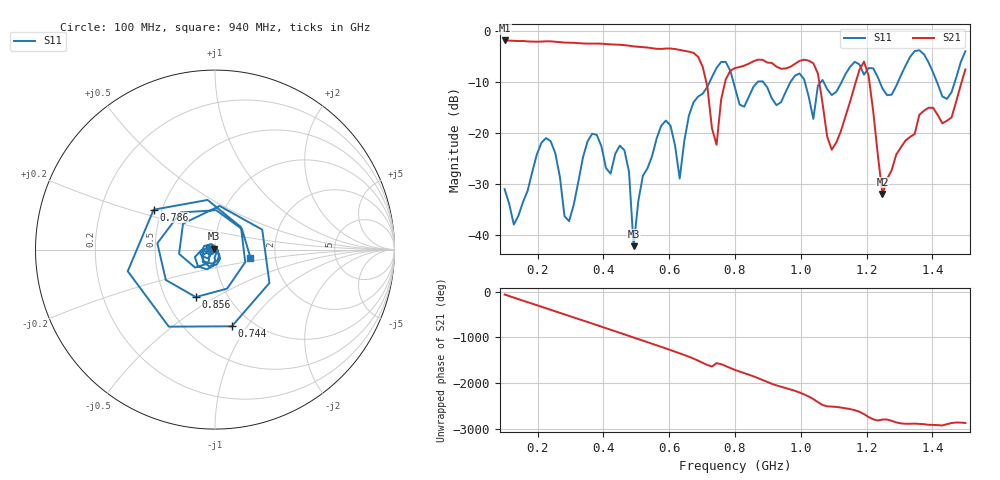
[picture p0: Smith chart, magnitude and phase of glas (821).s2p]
! NanoVNA-App
! Date: 2025-09-25 16:01:52
! Start: 100MHz Stop: 1,5GHz Points: 101
! S-Parameter data: F S11 S21 S12 S22
# Hz S RI R 50
!  Frequency  S11_Real  S11_Imag  S21_Real  S21_Imag  S12_Real  S12_Imag  S22_Real  S22_Imag
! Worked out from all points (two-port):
!   101 points, 100 MHz to 1.5 GHz, reference 50 ohm
!   highest |S21| = -1.80 dB at 100 MHz (marker M1); lowest = -31.9 dB at 1.248 GHz (marker M2)
!   |S21| within 3 dB of the highest: start of sweep to 684.4 MHz
!   lowest |S11| = -42.1 dB at 492 MHz (marker M3), VSWR 1.02, Z = 49.5 + j0.603 ohm
!   |S11| at or under -10 dB: start of sweep to 722.5 MHz; 795.4 MHz to 867.9 MHz (72.43 MHz wide, 8.71 % of centre); 886.2 MHz to 968 MHz (81.74 MHz wide, 8.82 % of centre) (the widest 3 of 7)
!   S12 and S22 are empty: the file has one direction only
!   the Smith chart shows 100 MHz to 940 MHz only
!   S11 on the Smith chart (normalised r, x): 100 MHz: 0.94, -0.01; 744 MHz: 0.81, -0.85; 786 MHz: 0.45, +0.24; 856 MHz: 0.71, -0.41; 940 MHz: 1.48, -0.14
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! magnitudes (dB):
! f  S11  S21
! 100 MHz  -30.9  -1.8
! 128 MHz  -37.9  -1.9
! 226 MHz  -20.9  -2.0
! 296 MHz  -37.2  -2.2
! 338 MHz  -24.7  -2.4
! 464 MHz  -23.3  -2.7
! 492 MHz  -42.1  -3.0
! 576 MHz  -18.5  -3.5
! 632 MHz  -28.9  -3.7
! 702 MHz  -12.2  -7.0
! 744 MHz  -7.2  -22.2
! 786 MHz  -7.8  -7.7
! 800 MHz  -11.1  -7.2
! 856 MHz  -10.9  -5.9
! 940 MHz  -13.9  -7.3
! 996 MHz  -8.3  -5.8
! 1.038 GHz  -17.2  -6.3
! 1.094 GHz  -12.5  -23.2
! 1.192 GHz  -8.5  -6.0
! 1.248 GHz  -11.2  -31.9
! 1.276 GHz  -12.4  -27.2
! 1.5 GHz  -3.9  -7.5
